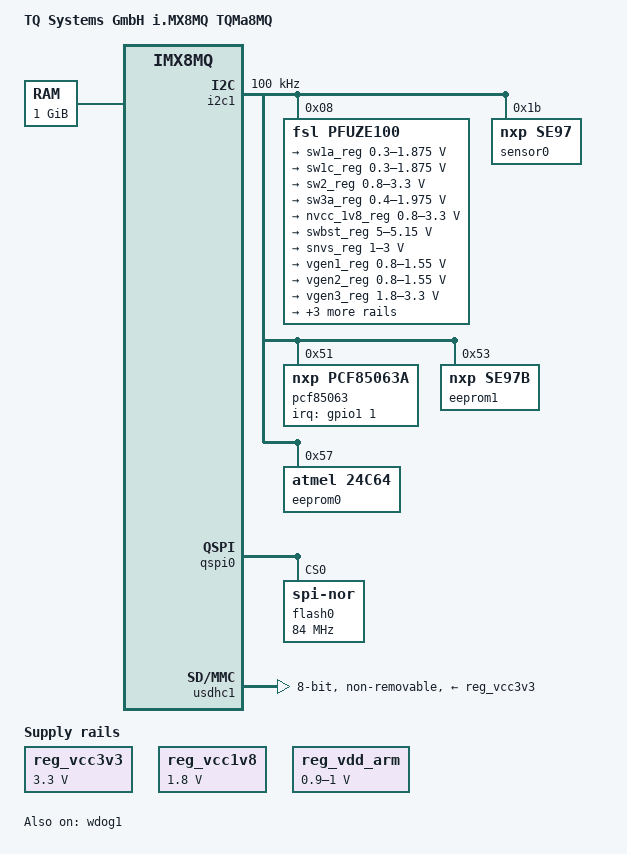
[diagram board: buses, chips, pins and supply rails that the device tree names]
// SPDX-License-Identifier: (GPL-2.0-or-later OR MIT)
/*
 * Copyright 2019-2021 TQ-Systems GmbH
 */

/ {
	model = "TQ Systems GmbH i.MX8MQ TQMa8MQ";
	compatible = "tq,imx8mq-tqma8mq", "fsl,imx8mq";

	chosen {
	};

	memory@40000000 {
		device_type = "memory";
		/*  our minimum RAM config will be 1024 MiB */
		reg = <0x00000000 0x40000000 0 0x40000000>;
	};

	reg_vcc3v3: regulator-vcc3v3 {
		compatible = "regulator-fixed";
		regulator-name = "TQMA8MX_VCC3V3";
		regulator-min-microvolt = <3300000>;
		regulator-max-microvolt = <3300000>;
		regulator-always-on;
	};

	/* e-MMC IO, needed for HS modes */
	reg_vcc1v8: regulator-vcc1v8 {
		compatible = "regulator-fixed";
		regulator-name = "TQMA8MX_VCC1V8";
		regulator-min-microvolt = <1800000>;
		regulator-max-microvolt = <1800000>;
		regulator-always-on;
	};

	reg_vdd_arm: regulator-vdd-arm {
		compatible = "regulator-gpio";
		pinctrl-names = "default";
		pinctrl-0 = <&pinctrl_dvfs>;
		regulator-min-microvolt = <900000>;
		regulator-max-microvolt = <1000000>;
		regulator-name = "TQMa8Mx_DVFS";
		regulator-type = "voltage";
		regulator-settling-time-us = <150000>;
		gpios = <&gpio1 6 GPIO_ACTIVE_LOW>;
		states = <900000 0x1 1000000 0x0>;
	};


	reserved-memory {
		#address-cells = <2>;
		#size-cells = <2>;
		ranges;

		/* global autoconfigured region for contiguous allocations */
		linux,cma {
			compatible = "shared-dma-pool";
			reusable;
			/* 640 MiB */
			size = <0 0x28000000>;
			/*  1024 - 128 MiB, our minimum RAM config will be 1024 MiB */
			alloc-ranges = <0 0x40000000 0 0x78000000>;
			linux,cma-default;
		};
	};
};

&A53_0 {
	cpu-supply = <&reg_vdd_arm>;
};

&A53_1 {
	cpu-supply = <&reg_vdd_arm>;
};

&A53_2 {
	cpu-supply = <&reg_vdd_arm>;
};

&A53_3 {
	cpu-supply = <&reg_vdd_arm>;
};

&pgc_gpu {
	power-supply = <&sw1a_reg>;
};

&pgc_vpu {
	power-supply = <&sw1c_reg>;
};

&iomuxc {
	pinctrl_dvfs: dvfsgrp {
		fsl,pins = <
			MX8MQ_IOMUXC_GPIO1_IO06_GPIO1_IO6	0x16
		>;
	};

	pinctrl_i2c1: i2c1grp {
		fsl,pins = <
			MX8MQ_IOMUXC_I2C1_SCL_I2C1_SCL		0x4000007f
			MX8MQ_IOMUXC_I2C1_SDA_I2C1_SDA		0x4000007f
		>;
	};

	pinctrl_qspi: qspigrp {
		fsl,pins = <
			MX8MQ_IOMUXC_NAND_ALE_QSPI_A_SCLK		0x97
			MX8MQ_IOMUXC_NAND_CE0_B_QSPI_A_SS0_B		0x82
			MX8MQ_IOMUXC_NAND_DATA00_QSPI_A_DATA0		0x97
			MX8MQ_IOMUXC_NAND_DATA01_QSPI_A_DATA1		0x97
			MX8MQ_IOMUXC_NAND_DATA02_QSPI_A_DATA2		0x97
			MX8MQ_IOMUXC_NAND_DATA03_QSPI_A_DATA3		0x97
		>;
	};

	pinctrl_rtc: rtcgrp {
		fsl,pins = <
			MX8MQ_IOMUXC_GPIO1_IO01_GPIO1_IO1		0x41
		>;
	};

	pinctrl_usdhc1: usdhc1grp {
		fsl,pins = <
			MX8MQ_IOMUXC_SD1_CLK_USDHC1_CLK		0x83
			MX8MQ_IOMUXC_SD1_CMD_USDHC1_CMD		0xc3
			MX8MQ_IOMUXC_SD1_DATA0_USDHC1_DATA0	0xc3
			MX8MQ_IOMUXC_SD1_DATA1_USDHC1_DATA1	0xc3
			MX8MQ_IOMUXC_SD1_DATA2_USDHC1_DATA2	0xc3
			MX8MQ_IOMUXC_SD1_DATA3_USDHC1_DATA3	0xc3
			MX8MQ_IOMUXC_SD1_DATA4_USDHC1_DATA4	0xc3
			MX8MQ_IOMUXC_SD1_DATA5_USDHC1_DATA5	0xc3
			MX8MQ_IOMUXC_SD1_DATA6_USDHC1_DATA6	0xc3
			MX8MQ_IOMUXC_SD1_DATA7_USDHC1_DATA7	0xc3
			MX8MQ_IOMUXC_SD1_STROBE_USDHC1_STROBE 	0x83
			MX8MQ_IOMUXC_SD1_RESET_B_USDHC1_RESET_B	0xc1
		>;
	};

	pinctrl_usdhc1_100mhz: usdhc1grp100mhz {
		fsl,pins = <
			MX8MQ_IOMUXC_SD1_CLK_USDHC1_CLK		0x85
			MX8MQ_IOMUXC_SD1_CMD_USDHC1_CMD		0xc5
			MX8MQ_IOMUXC_SD1_DATA0_USDHC1_DATA0	0xc5
			MX8MQ_IOMUXC_SD1_DATA1_USDHC1_DATA1	0xc5
			MX8MQ_IOMUXC_SD1_DATA2_USDHC1_DATA2	0xc5
			MX8MQ_IOMUXC_SD1_DATA3_USDHC1_DATA3	0xc5
			MX8MQ_IOMUXC_SD1_DATA4_USDHC1_DATA4	0xc5
			MX8MQ_IOMUXC_SD1_DATA5_USDHC1_DATA5	0xc5
			MX8MQ_IOMUXC_SD1_DATA6_USDHC1_DATA6	0xc5
			MX8MQ_IOMUXC_SD1_DATA7_USDHC1_DATA7	0xc5
			MX8MQ_IOMUXC_SD1_STROBE_USDHC1_STROBE 	0x85
			MX8MQ_IOMUXC_SD1_RESET_B_USDHC1_RESET_B	0xc1
		>;
	};

	pinctrl_usdhc1_200mhz: usdhc1grp200mhz {
		fsl,pins = <
			MX8MQ_IOMUXC_SD1_CLK_USDHC1_CLK		0x87
			MX8MQ_IOMUXC_SD1_CMD_USDHC1_CMD		0xc7
			MX8MQ_IOMUXC_SD1_DATA0_USDHC1_DATA0	0xc7
			MX8MQ_IOMUXC_SD1_DATA1_USDHC1_DATA1	0xc7
			MX8MQ_IOMUXC_SD1_DATA2_USDHC1_DATA2	0xc7
			MX8MQ_IOMUXC_SD1_DATA3_USDHC1_DATA3	0xc7
			MX8MQ_IOMUXC_SD1_DATA4_USDHC1_DATA4	0xc7
			MX8MQ_IOMUXC_SD1_DATA5_USDHC1_DATA5	0xc7
			MX8MQ_IOMUXC_SD1_DATA6_USDHC1_DATA6	0xc7
			MX8MQ_IOMUXC_SD1_DATA7_USDHC1_DATA7	0xc7
			MX8MQ_IOMUXC_SD1_STROBE_USDHC1_STROBE 	0x87
			MX8MQ_IOMUXC_SD1_RESET_B_USDHC1_RESET_B	0xc1
		>;
	};

	pinctrl_wdog: wdoggrp {
		fsl,pins = <
			MX8MQ_IOMUXC_GPIO1_IO02_WDOG1_WDOG_B	0xc6
		>;
	};
};

&i2c1 {
	clock-frequency = <100000>;
	pinctrl-names = "default";
	pinctrl-0 = <&pinctrl_i2c1>;
	status = "okay";

	pfuze100: pmic@8 {
		compatible = "fsl,pfuze100";
		reg = <0x8>;

		regulators {
			sw1a_reg: sw1ab {
				regulator-min-microvolt = <300000>;
				regulator-max-microvolt = <1875000>;
				regulator-always-on;
			};

			sw1c_reg: sw1c {
				regulator-min-microvolt = <300000>;
				regulator-max-microvolt = <1875000>;
				regulator-always-on;
			};

			sw2_reg: sw2 {
				regulator-min-microvolt = <800000>;
				regulator-max-microvolt = <3300000>;
				regulator-always-on;
			};

			sw3a_reg: sw3ab {
				regulator-min-microvolt = <400000>;
				regulator-max-microvolt = <1975000>;
				regulator-always-on;
			};

			/* 1.8 V for QSPI NOR, e-MMC IO, must not be changed */
			nvcc_1v8_reg: sw4 {
				regulator-min-microvolt = <800000>;
				regulator-max-microvolt = <3300000>;
				regulator-always-on;
			};

			swbst_reg: swbst {
				regulator-min-microvolt = <5000000>;
				regulator-max-microvolt = <5150000>;
			};

			snvs_reg: vsnvs {
				regulator-min-microvolt = <1000000>;
				regulator-max-microvolt = <3000000>;
				regulator-always-on;
			};

			vref_reg: vrefddr {
				regulator-always-on;
			};

			vgen1_reg: vgen1 {
				regulator-min-microvolt = <800000>;
				regulator-max-microvolt = <1550000>;
			};

			vgen2_reg: vgen2 {
				regulator-min-microvolt = <800000>;
				regulator-max-microvolt = <1550000>;
				regulator-always-on;
			};

			vgen3_reg: vgen3 {
				regulator-min-microvolt = <1800000>;
				regulator-max-microvolt = <3300000>;
				regulator-always-on;
			};

			vgen4_reg: vgen4 {
				regulator-min-microvolt = <1800000>;
				regulator-max-microvolt = <3300000>;
				regulator-always-on;
			};

			vgen5_reg: vgen5 {
				regulator-min-microvolt = <1800000>;
				regulator-max-microvolt = <3300000>;
				regulator-always-on;
			};

			vgen6_reg: vgen6 {
				regulator-min-microvolt = <1800000>;
				regulator-max-microvolt = <3300000>;
			};
		};
	};

	/*
	 * NXP SE97BTP with temperature sensor + eeprom
	 */
	sensor0: temperature-sensor-eeprom@1b {
		compatible = "nxp,se97", "jedec,jc-42.4-temp";
		reg = <0x1b>;
	};

	pcf85063: rtc@51 {
		compatible = "nxp,pcf85063a";
		reg = <0x51>;
		pinctrl-names = "default";
		pinctrl-0 = <&pinctrl_rtc>;
		interrupt-names = "irq";
		interrupt-parent = <&gpio1>;
		interrupts = <1 IRQ_TYPE_EDGE_FALLING>;
		quartz-load-femtofarads = <7000>;
	};

	eeprom1: eeprom@53 {
		compatible = "nxp,se97b", "atmel,24c02";
		reg = <0x53>;
		pagesize = <16>;
	};

	eeprom0: eeprom@57 {
		compatible = "atmel,24c64";
		reg = <0x57>;
		pagesize = <32>;
	};
};

/* disable until we fix it */
&pcie0 {
	/delete-property/ reserved-region;
};

&pcie1 {
	/delete-property/ reserved-region;
};

/*
 * By default, we use a flash which should support up to 90 MHz SPI clk
 * for Quad IO and DTR. Other options are devices with up to 84 MHz, So limit
 * the clock
 * To achieve a higher clock, reparent the QSPI clock. To prevent runing with
 * too high frequencies for DTR / QUAD, we use 266 MHz root -> 266 / 4 MHz SCLK
 */
&qspi0 {
	pinctrl-names = "default";
	pinctrl-0 = <&pinctrl_qspi>;
	assigned-clocks = <&clk IMX8MQ_CLK_QSPI>;
	assigned-clock-parents = <&clk IMX8MQ_SYS1_PLL_266M>;
/*	fsl,qspi-no-dtr-modes; */
	status = "okay";

	flash0: flash@0 {
		reg = <0>;
		#address-cells = <1>;
		#size-cells = <1>;
		compatible = "jedec,spi-nor";
		spi-max-frequency = <84000000>;
		spi-tx-bus-width = <4>;
		spi-rx-bus-width = <4>;
		/* TODO: not used in spi-nor / fsl-qspi but in fsl-flexspi */
/*		spi-nor,ddr-quad-read-dummy = <8>; */
		spi-nor,ddr-quad-read-dummy = <6>;
		/* used for macronix flash only */
		macronix,dsr = <0x3>;
	};
};

&rpmsg{
	status = "disabled";
};

&usdhc1 {
	pinctrl-names = "default", "state_100mhz", "state_200mhz";
	pinctrl-0 = <&pinctrl_usdhc1>;
	pinctrl-1 = <&pinctrl_usdhc1_100mhz>;
	pinctrl-2 = <&pinctrl_usdhc1_200mhz>;
	bus-width = <8>;
	non-removable;
	no-sd;
	no-sdio;
	vmmc-supply = <&reg_vcc3v3>;
	vqmmc-supply = <&reg_vcc1v8>;

	status = "okay";
};

/* Attention: wdog reset forcing POR needs baseboard support */
&wdog1 {
	status = "okay";
};
